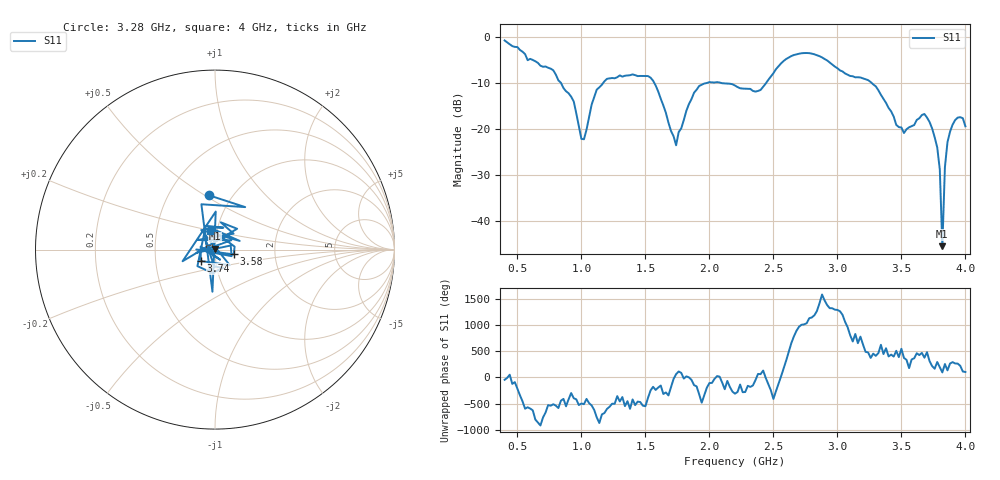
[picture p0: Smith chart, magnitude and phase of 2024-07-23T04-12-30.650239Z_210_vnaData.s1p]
!Created with skrf (http://scikit-rf.org).
# Hz S RI R 50.0
!freq ReS11 ImS11
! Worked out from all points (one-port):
!   181 points, 400 MHz to 4 GHz, reference 50 ohm
!   lowest |S11| = -45.4 dB at 3.82 GHz (marker M1), VSWR 1.01, Z = 49.9 + j0.531 ohm
!   |S11| at or under -10 dB: 1.57 GHz to 1.981 GHz (411.5 MHz wide, 23.2 % of centre); 2.093 GHz to 2.443 GHz (350.8 MHz wide, 15.5 % of centre); 3.268 GHz to end of sweep (the widest 3 of 4)
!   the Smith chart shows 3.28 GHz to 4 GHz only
!   S11 on the Smith chart (normalised r, x): 3.28 GHz: 0.78, +0.52; 3.58 GHz: 1.23, -0.07; 3.74 GHz: 0.85, -0.11; 4 GHz: 0.93, +0.19
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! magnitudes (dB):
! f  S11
! 400 MHz  -0.8
! 780 MHz  -7.2
! 860 MHz  -11.1
! 940 MHz  -14.0
! 1 GHz  -22.1
! 1.02 GHz  -22.2
! 1.12 GHz  -11.4
! 1.3 GHz  -8.4
! 1.54 GHz  -8.8
! 1.74 GHz  -23.5
! 1.76 GHz  -20.7
! 1.92 GHz  -10.7
! 2.2 GHz  -10.6
! 2.4 GHz  -11.5
! 2.66 GHz  -3.9
! 3.1 GHz  -8.5
! 3.28 GHz  -10.3
! 3.46 GHz  -19.1
! 3.56 GHz  -19.6
! 3.58 GHz  -19.4
! 3.68 GHz  -16.7
! 3.74 GHz  -19.9
! 3.8 GHz  -28.8
! 3.82 GHz  -45.4
! 3.84 GHz  -28.3
! 3.86 GHz  -22.8
! 3.94 GHz  -17.5
! 4 GHz  -19.4
